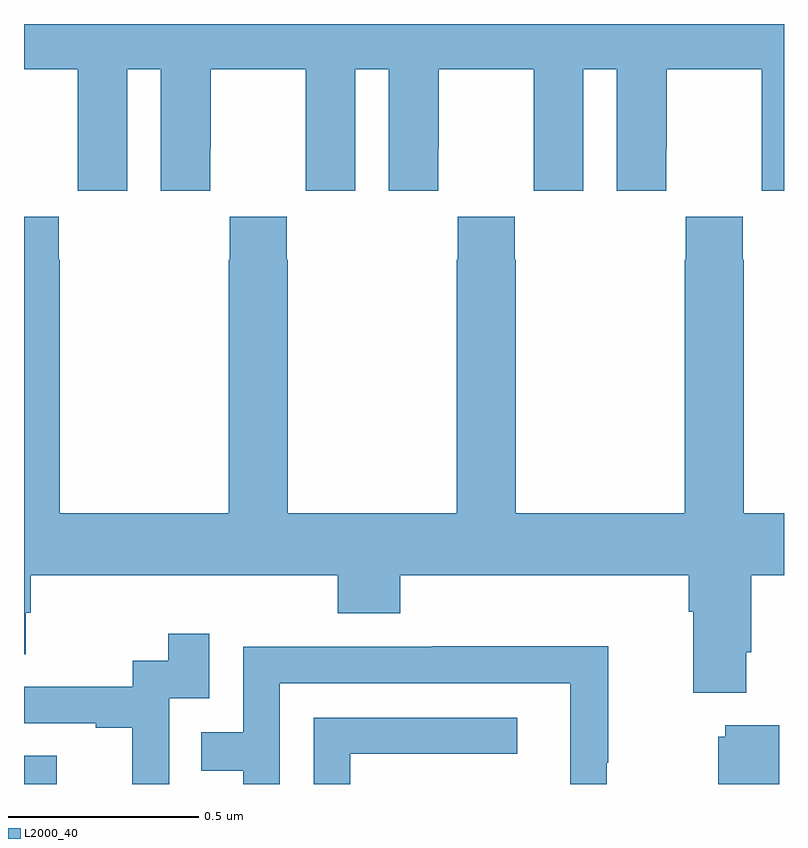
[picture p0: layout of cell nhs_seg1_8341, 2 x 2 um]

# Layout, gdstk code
import gdstk
lib = gdstk.Library(unit=1e-6, precision=1e-09)
def R(c, l, rs):  # rectangles x0, y0, x1, y1
    for r in rs: c.add(gdstk.rectangle(r[:2], r[2:], *l))
def P(c, l, *ps):  # polygons
    for p in ps: c.add(gdstk.Polygon(p, *l))
L2000_40 = (2000, 40)

nhs_seg1_8341 = lib.new_cell('nhs_seg1_8341')
R(nhs_seg1_8341, L2000_40, [(215,535.199,215.086,535.273)])
P(nhs_seg1_8341, L2000_40, [(215.272,537.08),(215.36,537.08),(215.36,536.76),(215.49,536.76),(215.49,536.872),(215.491,536.872),(215.491,537.08),(215.741,537.08),(215.741,536.872),(215.742,536.872),(215.742,536.76),(215.872,536.76),(215.872,537.08),(215.96,537.08),(215.96,536.76),(216.09,536.76),(216.09,536.872),(216.091,536.872),(216.091,537.08),(216.341,537.08),(216.341,536.872),(216.342,536.872),(216.342,536.76),(216.472,536.76),(216.472,537.08),(216.56,537.08),(216.56,536.76),(216.69,536.76),(216.69,536.872),(216.691,536.872),(216.691,537.08),(216.941,537.08),(216.941,536.872),(216.942,536.872),(216.942,536.76),(217,536.76),(217,537.199),(215,537.199),(215,537.08),(215.141,537.08),(215.141,536.872),(215.142,536.872),(215.142,536.76),(215.272,536.76)],
  [(216.901,535.546),(216.914,535.546),(216.914,535.748),(217,535.748),(217,535.912),(216.894,535.912),(216.894,536.579),(216.891,536.579),(216.891,536.692),(216.741,536.692),(216.741,536.579),(216.739,536.579),(216.739,535.912),(216.294,535.912),(216.294,536.579),(216.291,536.579),(216.291,536.692),(216.141,536.692),(216.141,536.579),(216.139,536.579),(216.139,535.912),(215.694,535.912),(215.694,536.579),(215.691,536.579),(215.691,536.692),(215.541,536.692),(215.541,536.579),(215.539,536.579),(215.539,535.912),(215.094,535.912),(215.094,536.579),(215.091,536.579),(215.091,536.692),(215,536.692),(215,535.54),(215.005,535.54),(215.005,535.65),(215.018,535.65),(215.018,535.748),(215.825,535.748),(215.825,535.649),(215.99,535.649),(215.99,535.748),(216.749,535.748),(216.749,535.652),(216.761,535.652),(216.761,535.439),(216.901,535.439)],
  [(215.382,535.425),(215.487,535.425),(215.487,535.594),(215.379,535.594),(215.379,535.524),(215.286,535.524),(215.286,535.455),(215,535.455),(215,535.359),(215.189,535.359),(215.189,535.347),(215.285,535.347),(215.285,535.199),(215.382,535.199)],
  [(215.673,535.464),(216.438,535.464),(216.438,535.199),(216.534,535.199),(216.534,535.255),(216.537,535.255),(216.537,535.562),(216.073,535.562),(216.073,535.56),(215.577,535.56),(215.577,535.335),(215.467,535.335),(215.467,535.234),(215.577,535.234),(215.577,535.199),(215.673,535.199)],
  [(215.859,535.278),(216.298,535.278),(216.298,535.374),(215.763,535.374),(215.763,535.199),(215.859,535.199)],
  [(216.988,535.354),(216.845,535.354),(216.845,535.323),(216.827,535.323),(216.827,535.199),(216.988,535.199)])

lib.write_gds('nhs_seg1_8341.gds')
